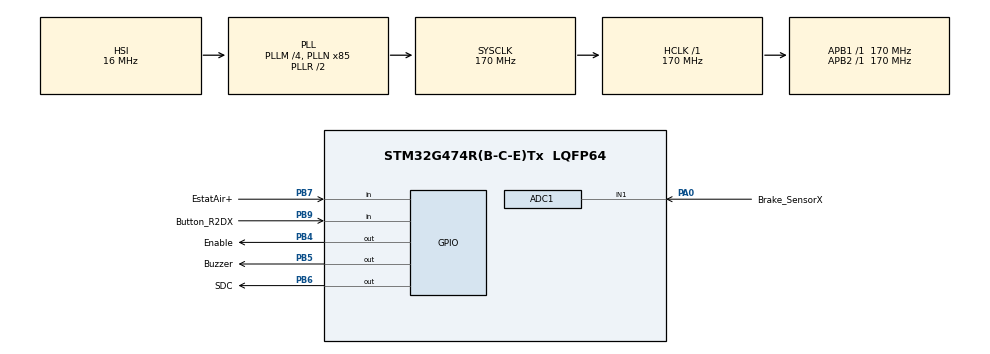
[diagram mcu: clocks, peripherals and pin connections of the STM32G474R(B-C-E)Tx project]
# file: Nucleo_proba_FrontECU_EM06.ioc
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ADC1.Channel-2\#ChannelRegularConversion=ADC_CHANNEL_1
ADC1.ClockPrescaler=ADC_CLOCK_ASYNC_DIV4
ADC1.GainCompensation=0
ADC1.NbrOfConversionFlag=1
ADC1.OffsetNumber-2\#ChannelRegularConversion=ADC_OFFSET_NONE
ADC1.Rank-2\#ChannelRegularConversion=1
ADC1.SamplingTime-2\#ChannelRegularConversion=ADC_SAMPLETIME_2CYCLES_5
ADC1.master=1
Mcu.Family=STM32G4
Mcu.Name=STM32G474R(B-C-E)Tx
Mcu.Package=LQFP64
NVIC.PriorityGroup=NVIC_PRIORITYGROUP_4
PA0.GPIO_Label=Brake_SensorX
PA0.Mode=IN1-Single-Ended
PA0.Signal=ADC1_IN1
PA13.GPIO_Label=T_SWDIO
PA13.Signal=SYS_JTMS-SWDIO
PA14.GPIO_Label=T_SWCLK
PA14.Signal=SYS_JTCK-SWCLK
PA2.GPIO_Label=LPUART1_TX [STLINKV3E_VCP_RX]
PA2.Signal=LPUART1_TX
PA3.GPIO_Label=LPUART1_RX [STLINKV3E_VCP_TX]
PA3.Signal=LPUART1_RX
PA5.Signal=ADC2_IN13
PB3.GPIO_Label=T_SWO
PB3.Signal=SYS_JTDO-SWO
PB4.GPIO_Label=Enable
PB4.Signal=GPIO_Output
PB5.GPIO_Label=Buzzer
PB5.Signal=GPIO_Output
PB6.GPIO_Label=SDC
PB6.Signal=GPIO_Output
PB7.GPIO_Label=EstatAir+
PB7.Signal=GPIO_Input
PB9.GPIO_Label=Button_R2DX
PB9.Signal=GPIO_Input
PC14-OSC32_IN.GPIO_Label=RCC_OSC32_IN
PC14-OSC32_IN.Signal=RCC_OSC32_IN
PC15-OSC32_OUT.GPIO_Label=RCC_OSC32_OUT
PC15-OSC32_OUT.Signal=RCC_OSC32_OUT
PF0-OSC_IN.GPIO_Label=RCC_OSC_IN
PF0-OSC_IN.Signal=RCC_OSC_IN
PF1-OSC_OUT.GPIO_Label=RCC_OSC_OUT
PF1-OSC_OUT.Signal=RCC_OSC_OUT
ProjectManager.HeapSize=0x200
ProjectManager.StackSize=0x400
ProjectManager.TargetToolchain=STM32CubeIDE
RCC.ADC12Freq_Value=170000000
RCC.ADC345Freq_Value=170000000
RCC.AHBFreq_Value=170000000
RCC.APB1Freq_Value=170000000
RCC.APB1TimFreq_Value=170000000
RCC.APB2Freq_Value=170000000
RCC.APB2TimFreq_Value=170000000
RCC.CortexFreq_Value=170000000
RCC.EXTERNAL_CLOCK_VALUE=12288000
RCC.HCLKFreq_Value=170000000
RCC.HSE_VALUE=24000000
RCC.HSI48_VALUE=48000000
RCC.HSI_VALUE=16000000
RCC.LSE_VALUE=32768
RCC.PLLM=RCC_PLLM_DIV4
RCC.PLLN=85
RCC.RTCClockSelection=RCC_RTCCLKSOURCE_LSE
RCC.SYSCLKFreq_VALUE=170000000
RCC.SYSCLKSource=RCC_SYSCLKSOURCE_PLLCLK
RCC.USBFreq_Value=170000000
RCC.VCOOutputFreq_Value=340000000
VP_SYS_VS_DBSignals.Mode=DisableDeadBatterySignals
board=NUCLEO-G474RE

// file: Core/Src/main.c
/* USER CODE BEGIN Header */
/**
  ******************************************************************************
  * @file           : main.c
  * @brief          : Main program body
  ******************************************************************************
  * @attention
  *
  * Copyright (c) 2026 STMicroelectronics.
  * All rights reserved.
  *
  * This software is licensed under terms that can be found in the LICENSE file
  * in the root directory of this software component.
  * If no LICENSE file comes with this software, it is provided AS-IS.
  *
  ******************************************************************************
  */
/* USER CODE END Header */
#include "main.h"
#include "adc.h"
#include "gpio.h"

/* USER CODE BEGIN PTD */
typedef enum{/* Enum amb tots els estats possibles de Ready To Drive */
	R2D_inicial = 0,// Estat inicial: res preparat
	R2D_step1, // STEP1: condició inicial complerta (brake+botó+SDC+aire)
	R2D_step2, // STEP2: botó alliberat i esperant 2s
	R2D_step3, // STEP3: botó premut de nou amb condicions OK
	R2D_step4,// STEP4: sistema en Ready To Drive
}r2d_state_t;

typedef  int bool;// definim que significa per nosaltres bool, 0 si val 1 o 0 i el mateix per true
#define true 1
#define false 0
/* USER CODE END PTD */

/* USER CODE BEGIN PD */
#define Brake_LLINDAR 300
/* USER CODE END PD */

/* USER CODE BEGIN PV */
bool SDC = 0; // Estat de l'entrada SDC (Safety Disconnect / Shutdown circuit)
bool EstatAirpositiu  = 0;// Estat del sensor d'aire positiu (pressió OK)
bool Button_R2DX = 0; // Estat del botó Ready To Drive
bool Enable = 0;// Senyal d'habilitació (per APPS / inverter)
uint16_t Brake_SensorX = 0;// Valor analògic del sensor de fre (lectura ADC)
uint32_t temp_R2D = 0;// Temps (en ms) en què entrem a STEP2
r2d_state_t state_r2d = R2D_inicial;// Estat actual de la funció

/* USER CODE END PV */

void SystemClock_Config(void);
/* USER CODE BEGIN PFP */
/* Lògica completa de Ready To Drive: llegir entrades i generar sortides */

/* USER CODE END PFP */

int main(void)
{

  /* MCU Configuration--------------------------------------------------------*/

  /* Reset of all peripherals, Initializes the Flash interface and the Systick. */
  HAL_Init();

  /* Configure the system clock */
  SystemClock_Config();

  /* Initialize all configured peripherals */
  MX_GPIO_Init();
  MX_ADC1_Init();

  /* Infinite loop */
  while (1)
  {

    /* USER CODE BEGIN 3 */
	// Llegir l'entrada digital SDC (GPIOB pin 6): HAL_GPIO_ReadPin retorna GPIO_PIN_SET o GPIO_PIN_RESET
	SDC = HAL_GPIO_ReadPin(GPIOB, GPIO_PIN_6);
	// Llegir l'entrada de l'air positiu (GPIOB pin 7)
	EstatAirpositiu = HAL_GPIO_ReadPin(GPIOB, GPIO_PIN_7);
	// Llegir l'estat del botó Ready To Drive (GPIOB pin 9)
	Button_R2DX = HAL_GPIO_ReadPin(GPIOB, GPIO_PIN_9);

	HAL_ADC_Start(&hadc1);
	HAL_ADC_PollForConversion(&hadc1, HAL_MAX_DELAY);
	Brake_SensorX = HAL_ADC_GetValue(&hadc1);
	HAL_ADC_Stop(&hadc1);

	// Màquina d'estats finits per la seqüència Ready To Drive
	switch (state_r2d)
	{

		// Condicions per passar d'inicial a STEP1: fre premut (Brake_SensorX >= 300), SDC actiu (SDC != 0), botó R2D premut (Button_R2DX != 0),
		//Aire positiu OK (EstatAirpositiu != 0) i sense error d'APPS (!error_apps)
		case R2D_inicial:
			if (Brake_SensorX >= 300 && SDC == true && Button_R2DX == true && EstatAirpositiu == true)
				state_r2d = R2D_step1;
			break;

		// En STEP1 exigim: Fre continua premut, SDC actiu, botó alliberat (!Button_R2DX), air positiu OK i sense error APPS
		case R2D_step1:
			if (Brake_SensorX >= 300 && SDC== true && Button_R2DX == 0 && EstatAirpositiu == true)
			{
				temp_R2D = HAL_GetTick();// HAL_GetTick() dona el nombre de mil·lisegons des de HAL_Init() (és un contador global de temps del sistema incrementat per l'interrupt de SysTick).
				state_r2d = R2D_step2;// Passem a STEP2 (finestra d'espera de 2 segons)
			}
			else if (SDC == 0 && EstatAirpositiu == 0) // Si es perd SDC, air positiu o hi ha error d'APPS, tornem a l'estat inicial
				state_r2d = R2D_inicial;
			break;

		// En STEP2: SDC actiu, botó segueix alliberat, air positiu OK, sense error APPS i han passat com a mínim 2000 ms (2 s) des de temp_R2D
		case R2D_step2:
			if (SDC == true && Button_R2DX == 0 && EstatAirpositiu== true && (HAL_GetTick() - temp_R2D) >= 2000)// Aquí, determinem el temps que s'ha avançat respecte el punt inicial
				state_r2d = R2D_step3;// Si es compleix tot això, passem a STEP3
			else if (SDC == 0 && EstatAirpositiu== 0) // Qualsevol pèrdua de SDC, air positiu o error APPS ens fa tornar a inicial
				state_r2d = R2D_inicial;
			break;

		// En STEP3 tornem a demanar: fre premut, SDC actiu, botó R2D premut, air positiu OK i sense error APPS
		case R2D_step3:
			if (Brake_SensorX >= 300 && SDC == true && Button_R2DX == true && EstatAirpositiu == true)
				state_r2d = R2D_step4;// Tot correcte: entrem a READY TO DRIVE (STEP4)
			else if (SDC == 0 && EstatAirpositiu == 0)
				state_r2d = R2D_inicial; // Qualsevol fallada de seguretat → tornar a inicial
			break;

		// En Ready To Drive, vigilem contínuament que: SDC segueixi actiu, air positiu OK i sense error d'APPS
		case R2D_step4:
			if (Brake_SensorX >= 300 && SDC == 0 && Button_R2DX == 0 && EstatAirpositiu == true)
				state_r2d = R2D_inicial;// Si alguna condició de seguretat cau, deshabilitem R2D
			else if(SDC == 0 && EstatAirpositiu == 0)
				state_r2d = R2D_inicial;
			break;
	}

	// Sortides segons l'estat

	// Estat segur/no preparat: tot apagat
	if (state_r2d == R2D_inicial || state_r2d == R2D_step1)
	{
		HAL_GPIO_WritePin(GPIOB, GPIO_PIN_5, GPIO_PIN_RESET); //Estat buzzer en repòs
		HAL_GPIO_WritePin(GPIOB, GPIO_PIN_4, GPIO_PIN_RESET);//Estat enable en repòs
	}
	else if (state_r2d == R2D_step2)
	{
		HAL_GPIO_WritePin(GPIOB, GPIO_PIN_5, GPIO_PIN_SET);//Estat buzzer actiu
		HAL_GPIO_WritePin(GPIOB, GPIO_PIN_4, GPIO_PIN_RESET);//Estat enable en repòs
	}
	else
	{
		HAL_GPIO_WritePin(GPIOB, GPIO_PIN_5, GPIO_PIN_RESET);//Estat buzzer en repòs
		HAL_GPIO_WritePin(GPIOB, GPIO_PIN_4, GPIO_PIN_SET);//Estat enable en actiu
	}
}
  /* USER CODE END 3 */
}

void SystemClock_Config(void)
{
  RCC_OscInitTypeDef RCC_OscInitStruct = {0};
  RCC_ClkInitTypeDef RCC_ClkInitStruct = {0};

  /** Configure the main internal regulator output voltage
  */
  HAL_PWREx_ControlVoltageScaling(PWR_REGULATOR_VOLTAGE_SCALE1_BOOST);

  /** Initializes the RCC Oscillators according to the specified parameters
  * in the RCC_OscInitTypeDef structure.
  */
  RCC_OscInitStruct.OscillatorType = RCC_OSCILLATORTYPE_HSI;
  RCC_OscInitStruct.HSIState = RCC_HSI_ON;
  RCC_OscInitStruct.HSICalibrationValue = RCC_HSICALIBRATION_DEFAULT;
  RCC_OscInitStruct.PLL.PLLState = RCC_PLL_ON;
  RCC_OscInitStruct.PLL.PLLSource = RCC_PLLSOURCE_HSI;
  RCC_OscInitStruct.PLL.PLLM = RCC_PLLM_DIV4;
  RCC_OscInitStruct.PLL.PLLN = 85;
  RCC_OscInitStruct.PLL.PLLP = RCC_PLLP_DIV2;
  RCC_OscInitStruct.PLL.PLLQ = RCC_PLLQ_DIV2;
  RCC_OscInitStruct.PLL.PLLR = RCC_PLLR_DIV2;
  if (HAL_RCC_OscConfig(&RCC_OscInitStruct) != HAL_OK)
  {
    Error_Handler();
  }

  /** Initializes the CPU, AHB and APB buses clocks
  */
  RCC_ClkInitStruct.ClockType = RCC_CLOCKTYPE_HCLK|RCC_CLOCKTYPE_SYSCLK
                              |RCC_CLOCKTYPE_PCLK1|RCC_CLOCKTYPE_PCLK2;
  RCC_ClkInitStruct.SYSCLKSource = RCC_SYSCLKSOURCE_PLLCLK;
  RCC_ClkInitStruct.AHBCLKDivider = RCC_SYSCLK_DIV1;
  RCC_ClkInitStruct.APB1CLKDivider = RCC_HCLK_DIV1;
  RCC_ClkInitStruct.APB2CLKDivider = RCC_HCLK_DIV1;

  if (HAL_RCC_ClockConfig(&RCC_ClkInitStruct, FLASH_LATENCY_4) != HAL_OK)
  {
    Error_Handler();
  }
}

void Error_Handler(void)
{
  __disable_irq();
  while (1)
  {
  }
}
